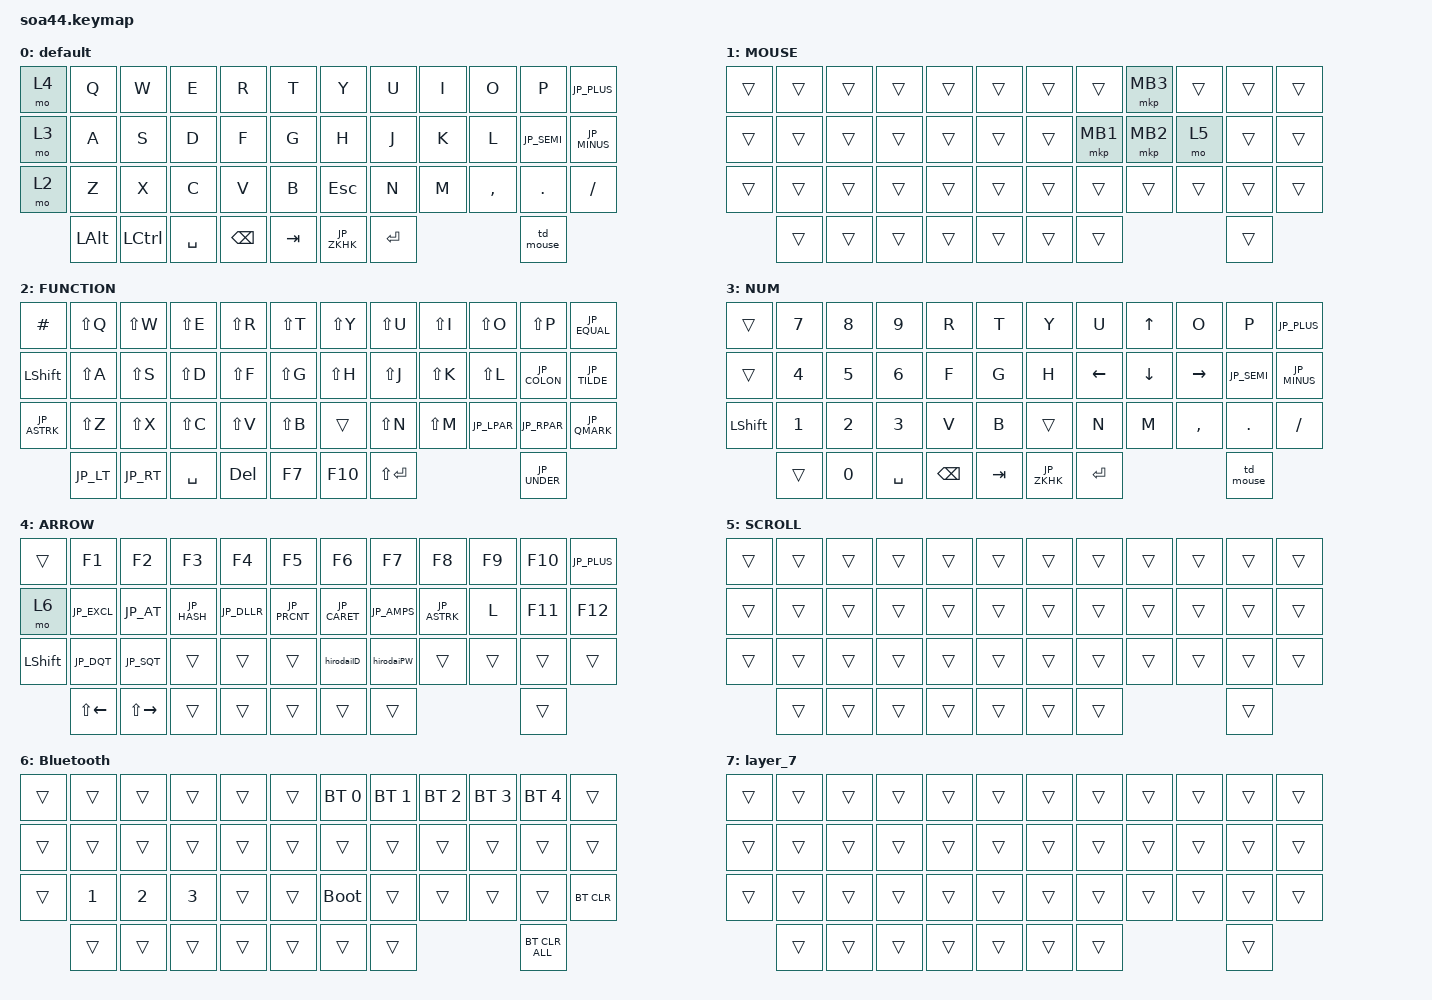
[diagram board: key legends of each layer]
#include <behaviors/rgbled_widget.dtsi>
#include <behaviors.dtsi>
#include <dt-bindings/zmk/bt.h>
#include <dt-bindings/zmk/keys.h>
#include <dt-bindings/zmk/pointing.h>
#include "keycode_japanese.h"

/ {
    combos {
        compatible = "zmk,combos";

        tab {
            bindings = <&kp TAB>;
            key-positions = <11 12>;
        };

        shift_tab {
            bindings = <&kp LS(TAB)>;
            key-positions = <12 13>;
        };

        double_quotation {
            bindings = <&kp DOUBLE_QUOTES>;
            key-positions = <20 21>;
        };

        eq {
            bindings = <&kp EQUAL>;
            key-positions = <24 25>;
        };
    };

    macros {
        hirodaiID: hirodaiID {
            compatible = "zmk,behavior-macro";
            #binding-cells = <0>;
            bindings = <&kp N7 &kp NUMBER_2 &kp NUMBER_4 &kp NUMBER_1 &kp N7 &kp NUMBER_6 &kp NUMBER_6 &kp N8>;
            label = "HIRODAIID";
        };

        hirodaiPW: hirodaiPW {
            compatible = "zmk,behavior-macro";
            #binding-cells = <0>;
            bindings = <&kp LS(Z) &kp H &kp A &kp N &kp G &kp Y &kp U &kp E &kp JP_QMARK &kp NUMBER_1 &kp N9 &kp N9 &kp NUMBER_4>;
            label = "HIRODAIPW";
        };
    };

    behaviors {
        td_mouse: td_mouse {
            compatible = "zmk,behavior-tap-dance";
            #binding-cells = <0>;
            tapping-term-ms = <200>;
            bindings = <&to 0>, <&to 1>;
        };
    };

    keymap {
        compatible = "zmk,keymap";

        default {
            bindings = <
&mo 4  &kp Q         &kp W             &kp E      &kp R          &kp T    &kp Y        &kp U      &kp I  &kp O      &kp P        &kp JP_PLUS
&mo 3  &kp A         &kp S             &kp D      &kp F          &kp G    &kp H        &kp J      &kp K  &kp L      &kp JP_SEMI  &kp JP_MINUS
&mo 2  &kp Z         &kp X             &kp C      &kp V          &kp B    &kp ESCAPE   &kp N      &kp M  &kp COMMA  &kp DOT      &kp SLASH
       &kp LEFT_ALT  &kp LEFT_CONTROL  &kp SPACE  &kp BACKSPACE  &kp TAB  &kp JP_ZKHK  &kp ENTER                    &td_mouse
            >;
        };

        MOUSE {
            bindings = <
&trans  &trans  &trans  &trans  &trans  &trans  &trans  &trans    &mkp MB3  &trans  &trans  &trans
&trans  &trans  &trans  &trans  &trans  &trans  &trans  &mkp MB1  &mkp MB2  &mo 5   &trans  &trans
&trans  &trans  &trans  &trans  &trans  &trans  &trans  &trans    &trans    &trans  &trans  &trans
        &trans  &trans  &trans  &trans  &trans  &trans  &trans                      &trans
            >;
        };

        FUNCTION {
            bindings = <
&kp HASH        &kp LS(Q)  &kp LS(W)  &kp LS(E)  &kp LS(R)   &kp LS(T)  &kp LS(Y)  &kp LS(U)      &kp LS(I)  &kp LS(O)    &kp LS(P)     &kp JP_EQUAL
&kp LEFT_SHIFT  &kp LS(A)  &kp LS(S)  &kp LS(D)  &kp LS(F)   &kp LS(G)  &kp LS(H)  &kp LS(J)      &kp LS(K)  &kp LS(L)    &kp JP_COLON  &kp JP_TILDE
&kp JP_ASTRK    &kp LS(Z)  &kp LS(X)  &kp LS(C)  &kp LS(V)   &kp LS(B)  &trans     &kp LS(N)      &kp LS(M)  &kp JP_LPAR  &kp JP_RPAR   &kp JP_QMARK
                &kp JP_LT  &kp JP_RT  &kp SPACE  &kp DELETE  &kp F7     &kp F10    &kp LS(ENTER)                          &kp JP_UNDER
            >;
        };

        NUM {
            bindings = <
&trans      &kp N7        &kp N8        &kp N9        &kp R          &kp T    &kp Y        &kp U           &kp UP_ARROW    &kp O            &kp P        &kp JP_PLUS
&trans      &kp NUMBER_4  &kp N5        &kp NUMBER_6  &kp F          &kp G    &kp H        &kp LEFT_ARROW  &kp DOWN_ARROW  &kp RIGHT_ARROW  &kp JP_SEMI  &kp JP_MINUS
&kp LEFT_SHIFT  &kp NUMBER_1  &kp NUMBER_2  &kp NUMBER_3  &kp V          &kp B    &trans       &kp N           &kp M           &kp COMMA        &kp PERIOD   &kp SLASH
            &trans        &kp N0        &kp SPACE     &kp BACKSPACE  &kp TAB  &kp JP_ZKHK  &kp ENTER                                        &td_mouse
            >;
        };

        ARROW {
            bindings = <
&trans          &kp F1        &kp F2         &kp F3       &kp F4       &kp F5        &kp F6        &kp F7       &kp F8        &kp F9  &kp F10  &kp JP_PLUS
&mo 6           &kp JP_EXCL   &kp JP_AT      &kp JP_HASH  &kp JP_DLLR  &kp JP_PRCNT  &kp JP_CARET  &kp JP_AMPS  &kp JP_ASTRK  &kp L   &kp F11  &kp F12
&kp LEFT_SHIFT  &kp JP_DQT    &kp JP_SQT     &trans       &trans       &trans        &hirodaiID    &hirodaiPW   &trans        &trans  &trans   &trans
                &kp LS(LEFT)  &kp LS(RIGHT)  &trans       &trans       &trans        &trans        &trans                             &trans
            >;
        };

        SCROLL {
            bindings = <
&trans  &trans  &trans  &trans  &trans  &trans  &trans  &trans  &trans  &trans  &trans  &trans
&trans  &trans  &trans  &trans  &trans  &trans  &trans  &trans  &trans  &trans  &trans  &trans
&trans  &trans  &trans  &trans  &trans  &trans  &trans  &trans  &trans  &trans  &trans  &trans
        &trans  &trans  &trans  &trans  &trans  &trans  &trans                  &trans
            >;
        };

        Bluetooth {
            bindings = <
&trans  &trans        &trans        &trans        &trans  &trans  &bt BT_SEL 0  &bt BT_SEL 1  &bt BT_SEL 2  &bt BT_SEL 3  &bt BT_SEL 4    &trans
&trans  &trans        &trans        &trans        &trans  &trans  &trans        &trans        &trans        &trans        &trans          &trans
&trans  &kp NUMBER_1  &kp NUMBER_2  &kp NUMBER_3  &trans  &trans  &bootloader   &trans        &trans        &trans        &trans          &bt BT_CLR
        &trans        &trans        &trans        &trans  &trans  &trans        &trans                                    &bt BT_CLR_ALL
            >;
        };

        layer_7 {
            bindings = <
&trans  &trans  &trans  &trans  &trans  &trans  &trans  &trans  &trans  &trans  &trans  &trans
&trans  &trans  &trans  &trans  &trans  &trans  &trans  &trans  &trans  &trans  &trans  &trans
&trans  &trans  &trans  &trans  &trans  &trans  &trans  &trans  &trans  &trans  &trans  &trans
        &trans  &trans  &trans  &trans  &trans  &trans  &trans                  &trans
            >;
        };
    };
};
